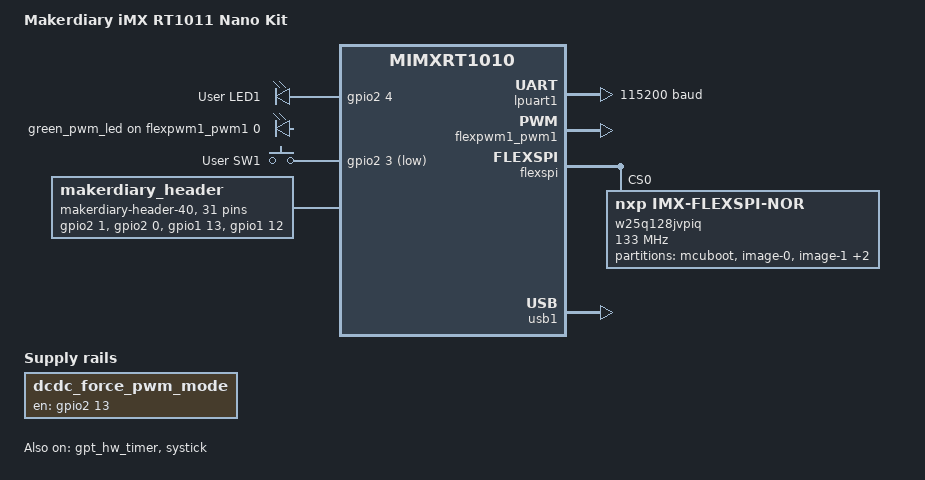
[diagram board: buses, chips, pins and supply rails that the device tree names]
/*
 * Copyright (c) 2016-2024 Makerdiary <https://makerdiary.com>
 *
 * SPDX-License-Identifier: Apache-2.0
 */

/dts-v1/;

#include <nxp/nxp_rt1010.dtsi>
#include "imxrt1011_nanokit-pinctrl.dtsi"
#include <zephyr/dt-bindings/input/input-event-codes.h>
#include <freq.h>

/ {
    model = "Makerdiary iMX RT1011 Nano Kit";
    compatible = "nxp,mimxrt1010";

    aliases {
        led0 = &green_led;
        pwm-led0 = &green_pwm_led;
        sw0 = &user_button;
    };

    chosen {
        zephyr,sram = &ocram;
        zephyr,itcm = &itcm;
        zephyr,dtcm = &dtcm;
		zephyr,console = &lpuart1;
		zephyr,shell-uart = &lpuart1;
        zephyr,flash-controller = &w25q128jvpiq;
        zephyr,flash = &w25q128jvpiq;
        zephyr,code-partition = &slot0_partition;
    };

    leds {
        compatible = "gpio-leds";
        green_led: led-0 {
            gpios = <&gpio2 4 GPIO_ACTIVE_HIGH>;
            label = "User LED1";
        };
    };

    pwmleds {
        compatible = "pwm-leds";
        green_pwm_led: green_pwm_led {
            pwms = <&flexpwm1_pwm1 0 PWM_MSEC(20) PWM_POLARITY_NORMAL>;
        };
    };

    gpio_keys {
        compatible = "gpio-keys";
        user_button: button-1 {
            label = "User SW1";
            gpios = <&gpio2 3 GPIO_ACTIVE_LOW>;
            zephyr,code = <INPUT_KEY_0>;
        };
    };

    dcdc_force_pwm_mode: dcdc_force_pwm_mode {
        compatible = "regulator-fixed";
        regulator-name = "dcdc_force_pwm_mode";
        enable-gpios = <&gpio2 13 GPIO_ACTIVE_HIGH>;
        status = "okay";
        regulator-boot-on;
    };

    makerdiary_header: connector {
        compatible = "makerdiary-header-40";
        #gpio-cells = <2>;
        gpio-map-mask = <0xffffffff 0xffffffc0>;
        gpio-map-pass-thru = <0 0x3f>;
        gpio-map = <0  0 &gpio2 1  0>,    /* SD1 */
                   <1  0 &gpio2 0  0>,    /* SD0 */
                   <2  0 &gpio1 13 0>,    /* D13 */
                   <3  0 &gpio1 12 0>,    /* D12 */
                   <4  0 &gpio1 11 0>,    /* D11 */
                   <5  0 &gpio1 10 0>,    /* D10 */
                   <6  0 &gpio1 9  0>,    /* D9 */
                   <7  0 &gpio1 8  0>,    /* D8 */
                   <8  0 &gpio1 7  0>,    /* D7 */
                   <9  0 &gpio1 6  0>,    /* D6 */
                   <10 0 &gpio1 5  0>,    /* D5 */
                   <11 0 &gpio1 4  0>,    /* D4 */
                   <12 0 &gpio1 3  0>,    /* D3 */
                   <13 0 &gpio1 2  0>,    /* D2 */
                   <14 0 &gpio1 1  0>,    /* D1 */
                   <15 0 &gpio1 0  0>,    /* D0 */
                   <16 0 &gpio1 14 0>,    /* AD0 */
                   <17 0 &gpio1 15 0>,    /* AD1 */
                   <18 0 &gpio1 16 0>,    /* AD2 */
                   <19 0 &gpio1 17 0>,    /* AD3 */
                   <20 0 &gpio1 18 0>,    /* AD4 */
                   <21 0 &gpio1 19 0>,    /* AD5 */
                   <22 0 &gpio1 20 0>,    /* AD6 */
                   <23 0 &gpio1 21 0>,    /* AD7 */
                   <24 0 &gpio1 22 0>,    /* AD8 */
                   <25 0 &gpio1 23 0>,    /* AD9 */
                   <26 0 &gpio1 24 0>,    /* AD10 */
                   <27 0 &gpio1 25 0>,    /* AD11 */
                   <28 0 &gpio1 28 0>,    /* AD14 */
                   <29 0 &gpio2 2  0>,    /* SD2 */
                   <30 0 &gpio2 5  0>;    /* SD5 */
    };
};

&lpuart1 {
	status = "okay";
	current-speed = <115200>;
	pinctrl-0 = <&pinmux_lpuart1>;
	pinctrl-1 = <&pinmux_lpuart1_sleep>;
	pinctrl-names = "default", "sleep";
};

&flexpwm1_pwm1 {
    status = "okay";
    pinctrl-0 = <&pinmux_flexpwm1_1>;
    pinctrl-names = "default";
};

&flexspi {
    status = "okay";
    reg = <0x400a0000 0x4000>, <0x60000000 DT_SIZE_M(16)>;
    w25q128jvpiq: w25q128jvpiq@0 {
        compatible = "nxp,imx-flexspi-nor";
        size = <DT_SIZE_M(16 * 8)>;
        reg = <0>;
        spi-max-frequency = <DT_FREQ_M(133)>;
        status = "okay";
        jedec-id = [ef 70 18];
        erase-block-size = <4096>;
        write-block-size = <1>;

        partitions {
            compatible = "fixed-partitions";
            #address-cells = <1>;
            #size-cells = <1>;

            boot_partition: partition@0 {
                label = "mcuboot";
                reg = <0x00000000 DT_SIZE_K(64)>;
            };
            slot0_partition: partition@10000 {
                label = "image-0";
                reg = <0x00010000 DT_SIZE_M(4)>;
            };
            slot1_partition: partition@410000 {
                label = "image-1";
                reg = <0x00410000 DT_SIZE_M(4)>;
            };
            scratch_partition: partition@810000 {
                label = "image-scratch";
                reg = <0x00810000 DT_SIZE_K(960)>;
            };
            storage_partition: partition@900000 {
                label = "storage";
                reg = <0x00900000 DT_SIZE_M(7)>;
            };
        };
    };
};


zephyr_udc0: &usb1 {
    status = "okay";
};

&gpio1 {
    status = "okay";
};

&gpio2 {
    status = "okay";
};

&edma0 {
    status = "okay";
};

/* GPT and Systick are enabled. If power management is enabled, the GPT
 * timer will be used instead of systick, as allows the core clock to
 * be gated.
 */
&gpt_hw_timer {
    status = "okay";
};

&systick {
    status = "okay";
};
